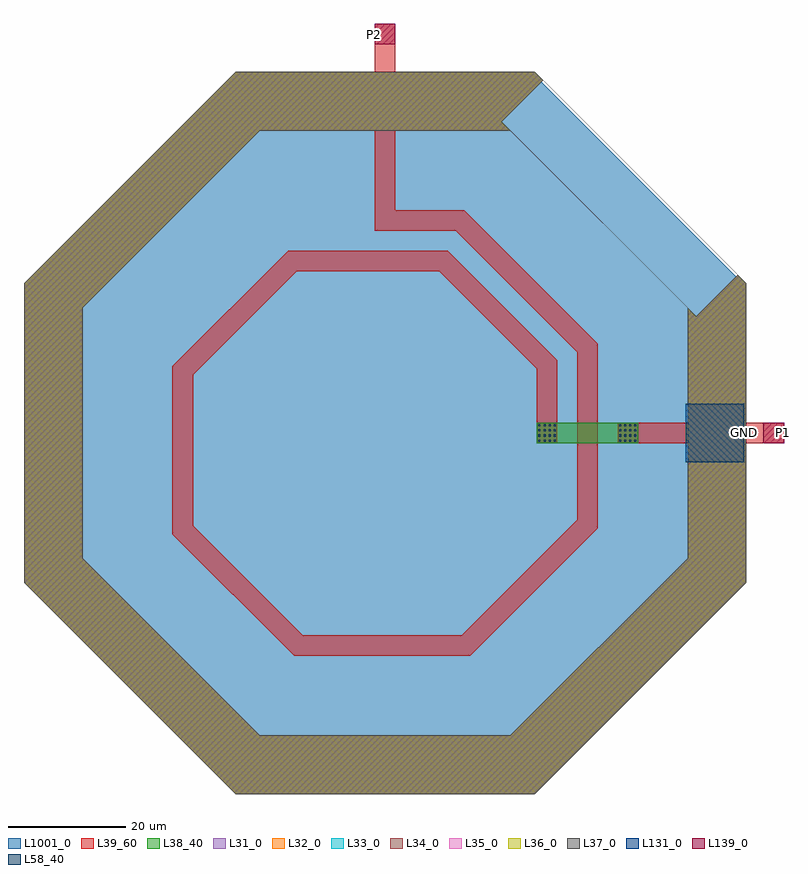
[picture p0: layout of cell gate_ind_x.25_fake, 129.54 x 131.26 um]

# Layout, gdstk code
import gdstk
lib = gdstk.Library(unit=1e-6, precision=1e-09)
def R(c, l, rs):  # rectangles x0, y0, x1, y1
    for r in rs: c.add(gdstk.rectangle(r[:2], r[2:], *l))
def A(c, l, x, y, w, h, nx, ny, dx, dy):  # array of equal rectangles
    R(c, l, [(x+i*dx, y+j*dy, x+i*dx+w, y+j*dy+h) for i in range(nx) for j in range(ny)])
def P(c, l, *ps):  # polygons
    for p in ps: c.add(gdstk.Polygon(p, *l))
L31_0 = (31, 0)
L32_0 = (32, 0)
L33_0 = (33, 0)
L34_0 = (34, 0)
L35_0 = (35, 0)
L36_0 = (36, 0)
L37_0 = (37, 0)
L38_40 = (38, 40)
L39_60 = (39, 60)
L58_40 = (58, 40)
L131_0 = (131, 0)
L139_0 = (139, 0)
L1001_0 = (1001, 0)

gate_ind_x_25_fake = lib.new_cell('gate_ind_x.25_fake')
P(gate_ind_x_25_fake, L31_0, [(53.013,19.888),(60.085,26.959),(25.494,61.549),(-25.494,61.549),(-61.549,25.494),(-61.549,-25.494),(-25.494,-61.549),(25.494,-61.549),(61.549,-25.494),(61.549,25.494),(26.959,60.085),(19.888,53.013),(51.549,21.352),(51.549,-21.352),(21.352,-51.549),(-21.352,-51.549),(-51.549,-21.352),(-51.549,21.352),(-21.352,51.549),(21.352,51.549)])
P(gate_ind_x_25_fake, L32_0, [(53.013,19.888),(60.085,26.959),(25.494,61.549),(-25.494,61.549),(-61.549,25.494),(-61.549,-25.494),(-25.494,-61.549),(25.494,-61.549),(61.549,-25.494),(61.549,25.494),(26.959,60.085),(19.888,53.013),(51.549,21.352),(51.549,-21.352),(21.352,-51.549),(-21.352,-51.549),(-51.549,-21.352),(-51.549,21.352),(-21.352,51.549),(21.352,51.549)])
P(gate_ind_x_25_fake, L33_0, [(53.013,19.888),(60.085,26.959),(25.494,61.549),(-25.494,61.549),(-61.549,25.494),(-61.549,-25.494),(-25.494,-61.549),(25.494,-61.549),(61.549,-25.494),(61.549,25.494),(26.959,60.085),(19.888,53.013),(51.549,21.352),(51.549,-21.352),(21.352,-51.549),(-21.352,-51.549),(-51.549,-21.352),(-51.549,21.352),(-21.352,51.549),(21.352,51.549)])
P(gate_ind_x_25_fake, L34_0, [(53.013,19.888),(60.085,26.959),(25.494,61.549),(-25.494,61.549),(-61.549,25.494),(-61.549,-25.494),(-25.494,-61.549),(25.494,-61.549),(61.549,-25.494),(61.549,25.494),(26.959,60.085),(19.888,53.013),(51.549,21.352),(51.549,-21.352),(21.352,-51.549),(-21.352,-51.549),(-51.549,-21.352),(-51.549,21.352),(-21.352,51.549),(21.352,51.549)])
P(gate_ind_x_25_fake, L35_0, [(53.013,19.888),(60.085,26.959),(25.494,61.549),(-25.494,61.549),(-61.549,25.494),(-61.549,-25.494),(-25.494,-61.549),(25.494,-61.549),(61.549,-25.494),(61.549,25.494),(26.959,60.085),(19.888,53.013),(51.549,21.352),(51.549,-21.352),(21.352,-51.549),(-21.352,-51.549),(-51.549,-21.352),(-51.549,21.352),(-21.352,51.549),(21.352,51.549)])
P(gate_ind_x_25_fake, L36_0, [(53.013,19.888),(60.085,26.959),(25.494,61.549),(-25.494,61.549),(-61.549,25.494),(-61.549,-25.494),(-25.494,-61.549),(25.494,-61.549),(61.549,-25.494),(61.549,25.494),(26.959,60.085),(19.888,53.013),(51.549,21.352),(51.549,-21.352),(21.352,-51.549),(-21.352,-51.549),(-51.549,-21.352),(-51.549,21.352),(-21.352,51.549),(21.352,51.549)])
P(gate_ind_x_25_fake, L37_0, [(53.013,19.888),(60.085,26.959),(25.494,61.549),(-25.494,61.549),(-61.549,25.494),(-61.549,-25.494),(-25.494,-61.549),(25.494,-61.549),(61.549,-25.494),(61.549,25.494),(26.959,60.085),(19.888,53.013),(51.549,21.352),(51.549,-21.352),(21.352,-51.549),(-21.352,-51.549),(-51.549,-21.352),(-51.549,21.352),(-21.352,51.549),(21.352,51.549)])
R(gate_ind_x_25_fake, L38_40, [(25.865,-1.75,43.115,1.75)])
P(gate_ind_x_25_fake, L38_40, [(53.013,19.888),(60.085,26.959),(25.494,61.549),(-25.494,61.549),(-61.549,25.494),(-61.549,-25.494),(-25.494,-61.549),(25.494,-61.549),(61.549,-25.494),(61.549,25.494),(26.959,60.085),(19.888,53.013),(51.549,21.352),(51.549,-21.352),(21.352,-51.549),(-21.352,-51.549),(-51.549,-21.352),(-51.549,21.352),(-21.352,51.549),(21.352,51.549)])
R(gate_ind_x_25_fake, L39_60, [(39.615,-1.75,67.99,1.75), (-1.75,34.46,1.75,69.71)])
P(gate_ind_x_25_fake, L39_60, [(25.865,-1.75),(29.365,-1.75),(29.365,12.37),(10.655,31.085),(-16.52,31.085),(-36.24,11.365),(-36.24,-17.235),(-15.515,-37.96),(14.51,-37.96),(36.24,-16.225),(36.24,15.22),(13.5,37.96),(0,37.96),(0,34.46),(12.05,34.46),(32.74,13.77),(32.74,-14.775),(13.06,-34.46),(-14.065,-34.46),(-32.74,-15.785),(-32.74,9.915),(-15.07,27.585),(9.205,27.585),(25.865,10.92)],
  [(53.013,19.888),(60.085,26.959),(25.494,61.549),(-25.494,61.549),(-61.549,25.494),(-61.549,-25.494),(-25.494,-61.549),(25.494,-61.549),(61.549,-25.494),(61.549,25.494),(26.959,60.085),(19.888,53.013),(51.549,21.352),(51.549,-21.352),(21.352,-51.549),(-21.352,-51.549),(-51.549,-21.352),(-51.549,21.352),(-21.352,51.549),(21.352,51.549)])
A(gate_ind_x_25_fake, L58_40, 26.134, -1.48, 0.35, 0.35, 4, 4, 0.87, 0.87)
A(gate_ind_x_25_fake, L58_40, 39.884, -1.48, 0.35, 0.35, 4, 4, 0.87, 0.87)
R(gate_ind_x_25_fake, L131_0, [(51.21,-5,61.21,5)])
R(gate_ind_x_25_fake, L139_0, [(64.49,-1.75,67.99,1.75), (-1.75,66.21,1.75,69.71)])
P(gate_ind_x_25_fake, L1001_0, [(61.168,25.337),(25.337,61.168),(-25.337,61.168),(-61.168,25.337),(-61.168,-25.337),(-25.337,-61.168),(25.337,-61.168),(61.168,-25.337)],
  [(61.168,25.337),(25.337,61.168),(-25.337,61.168),(-61.168,25.337),(-61.168,-25.337),(-25.337,-61.168),(25.337,-61.168),(61.168,-25.337)],
  [(61.168,25.337),(25.337,61.168),(-25.337,61.168),(-61.168,25.337),(-61.168,-25.337),(-25.337,-61.168),(25.337,-61.168),(61.168,-25.337)],
  [(61.168,25.337),(25.337,61.168),(-25.337,61.168),(-61.168,25.337),(-61.168,-25.337),(-25.337,-61.168),(25.337,-61.168),(61.168,-25.337)],
  [(61.168,25.337),(25.337,61.168),(-25.337,61.168),(-61.168,25.337),(-61.168,-25.337),(-25.337,-61.168),(25.337,-61.168),(61.168,-25.337)],
  [(61.168,25.337),(25.337,61.168),(-25.337,61.168),(-61.168,25.337),(-61.168,-25.337),(-25.337,-61.168),(25.337,-61.168),(61.168,-25.337)],
  [(61.168,25.337),(25.337,61.168),(-25.337,61.168),(-61.168,25.337),(-61.168,-25.337),(-25.337,-61.168),(25.337,-61.168),(61.168,-25.337)],
  [(61.168,25.337),(25.337,61.168),(-25.337,61.168),(-61.168,25.337),(-61.168,-25.337),(-25.337,-61.168),(25.337,-61.168),(61.168,-25.337)],
  [(61.168,25.337),(25.337,61.168),(-25.337,61.168),(-61.168,25.337),(-61.168,-25.337),(-25.337,-61.168),(25.337,-61.168),(61.168,-25.337)])
gate_ind_x_25_fake.add(gdstk.Label('P1', (67.989,0), layer=139, texttype=0))
gate_ind_x_25_fake.add(gdstk.Label('P2', (-1.75,67.958), layer=139, texttype=0))
gate_ind_x_25_fake.add(gdstk.Label('GND', (61.208,0), layer=131, texttype=0))

lib.write_gds('gate_ind_x.25_fake.gds')
